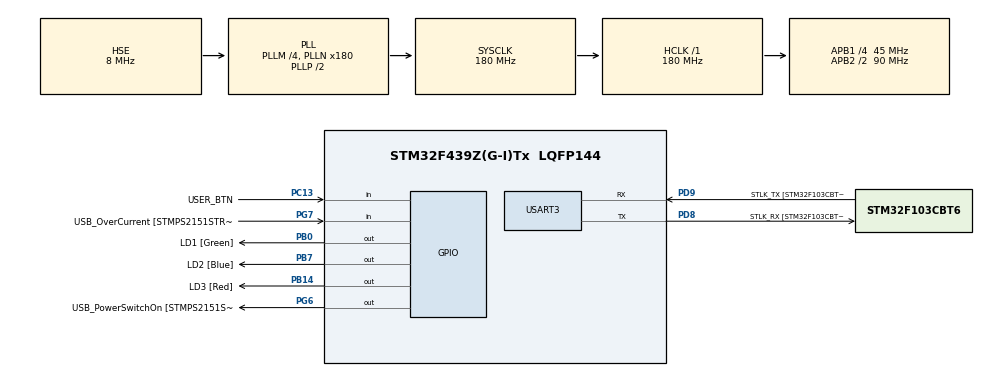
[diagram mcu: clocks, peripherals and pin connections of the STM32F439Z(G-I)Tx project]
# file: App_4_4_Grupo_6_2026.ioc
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Mcu.Family=STM32F4
Mcu.Name=STM32F439Z(G-I)Tx
Mcu.Package=LQFP144
NVIC.PriorityGroup=NVIC_PRIORITYGROUP_4
PA13.GPIO_Label=TMS
PA13.Mode=Serial_Wire
PA13.Signal=SYS_JTMS-SWDIO
PA14.GPIO_Label=TCK
PA14.Mode=Serial_Wire
PA14.Signal=SYS_JTCK-SWCLK
PB0.GPIO_Label=LD1 [Green]
PB0.Signal=GPIO_Output
PB14.GPIO_Label=LD3 [Red]
PB14.Signal=GPIO_Output
PB7.GPIO_Label=LD2 [Blue]
PB7.Signal=GPIO_Output
PC13.GPIO_Label=USER_BTN
PC13.Signal=GPIO_Input
PC14/OSC32_IN.Mode=LSE-External-Oscillator
PC14/OSC32_IN.Signal=RCC_OSC32_IN
PC15/OSC32_OUT.Mode=LSE-External-Oscillator
PC15/OSC32_OUT.Signal=RCC_OSC32_OUT
PD8.GPIO_Label=STLK_RX [STM32F103CBT6_PA3]
PD8.Mode=Asynchronous
PD8.Signal=USART3_TX
PD9.GPIO_Label=STLK_TX [STM32F103CBT6_PA2]
PD9.Mode=Asynchronous
PD9.Signal=USART3_RX
PG6.GPIO_Label=USB_PowerSwitchOn [STMPS2151STR_EN]
PG6.Signal=GPIO_Output
PG7.GPIO_Label=USB_OverCurrent [STMPS2151STR_FAULT]
PG7.Signal=GPIO_Input
PH0/OSC_IN.GPIO_Label=MCO [STM32F103CBT6_PA8]
PH0/OSC_IN.Mode=HSE-External-Oscillator
PH0/OSC_IN.Signal=RCC_OSC_IN
PH1/OSC_OUT.Mode=HSE-External-Oscillator
PH1/OSC_OUT.Signal=RCC_OSC_OUT
ProjectManager.HeapSize=0x200
ProjectManager.StackSize=0x400
ProjectManager.TargetToolchain=STM32CubeIDE
RCC.48MHZClocksFreq_Value=51428571.428571425
RCC.AHBFreq_Value=180000000
RCC.APB1CLKDivider=RCC_HCLK_DIV4
RCC.APB1Freq_Value=45000000
RCC.APB1TimFreq_Value=90000000
RCC.APB2CLKDivider=RCC_HCLK_DIV2
RCC.APB2Freq_Value=90000000
RCC.APB2TimFreq_Value=180000000
RCC.CortexFreq_Value=180000000
RCC.HCLKFreq_Value=180000000
RCC.HSE_VALUE=8000000
RCC.HSI_VALUE=16000000
RCC.PLLM=4
RCC.PLLMUL=RCC_PLL_MUL9
RCC.PLLN=180
RCC.PLLQ=7
RCC.PLLSourceVirtual=RCC_PLLSOURCE_HSE
RCC.PRESCALERUSB=RCC_USBCLKSOURCE_PLL_DIV1_5
RCC.SYSCLKFreq_VALUE=180000000
RCC.SYSCLKSource=RCC_SYSCLKSOURCE_PLLCLK
RCC.SYSCLKSourceVirtual=RCC_SYSCLKSOURCE_PLLCLK
RCC.USBFreq_Value=48000000
RCC.VCOOutputFreq_Value=360000000
USART3.VirtualMode=VM_ASYNC
board=NUCLEO-F439ZI

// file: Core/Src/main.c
/* USER CODE BEGIN Header */
/**
 * @file main.c
 * @author Mamani Flores Carlos (UTN FRT)
 * @brief Aplicación de parpadeo de LEDs con velocidad variable en caliente.
 * @details Módulo de Capa 3 que conmuta en bloque el estado de los LEDs y actualiza
 *          dinámicamente el periodo de temporización mediante nb_delay_write() al
 *          detectar pulsaciones en el USER_Btn con filtro de rebote.
 * @version 1.0
 * @date 2026
 *
 * @attention
 * Copyright (c) 2026 STMicroelectronics.
 * All rights reserved.
 */

/* USER CODE END Header */
#include "main.h"

/* USER CODE BEGIN Includes */

#include "stdbool.h"
#include "driver_led.h"
#include "driver_led_pal.h"
#include "nb_delay.h"
#include "driver_boton.h"
#include "driver_boton_pal.h"

/* USER CODE END Includes */

/* USER CODE BEGIN PTD */

/** * @brief Definición de estados para la MEF.
 */
typedef enum{
	Estado_Encendido = 0,
	Estado_Apagado
} Estado_t;

/* USER CODE END PTD */

/* USER CODE BEGIN PD */

#define INDICE_BTN_USER 0

/* USER CODE END PD */

UART_HandleTypeDef huart3;

/* USER CODE BEGIN PV */

/* Tablas físicas asociadas a la Capa PAL */
static const BOTON_Hardware_t tabla_botones_hw[] = {
		[INDICE_BTN_USER] = {USER_BTN_GPIO_Port, USER_BTN_Pin, BOTON_ACTIVO_ALTO}
};
static const uint8_t cant_botones = sizeof(tabla_botones_hw) / sizeof(tabla_botones_hw[0]);

static const LED_Hardware_t tabla_leds_hardware[] = {
		{LD1_GPIO_Port, LD1_Pin}, // LED 0: Verde
		{LD2_GPIO_Port, LD2_Pin}, // LED 1: Azul
		{LD3_GPIO_Port, LD3_Pin}  // LED 2: Rojo
};
static const uint8_t total_leds = sizeof(tabla_leds_hardware) / sizeof(tabla_leds_hardware[0]);

/* Base de tiempos configurables */
static const tick_t tabla_tiempos[] = {100U, 250U, 500U, 1000U};
static const uint8_t cant_intervalos = sizeof(tabla_tiempos) / sizeof(tabla_tiempos[0]);
static const tick_t tiempo_debounce = 50U;

/* Variables de control de estado */
static uint8_t indice_tiempo_actual = 0U;

/* Instancias de temporización no bloqueante */
static nb_delay_t delay_toggle;
static nb_delay_t delay_debounce;

/* USER CODE END PV */

void SystemClock_Config(void);
static void MX_GPIO_Init(void);
static void MX_USART3_UART_Init(void);

int main(void)
{

	/* MCU Configuration--------------------------------------------------------*/

	/* Reset of all peripherals, Initializes the Flash interface and the Systick. */
	HAL_Init();

	/* Configure the system clock */
	SystemClock_Config();

	/* Initialize all configured peripherals */
	MX_GPIO_Init();
	MX_USART3_UART_Init();
	/* USER CODE BEGIN 2 */

	/* Inicialización de controladores de Capa 2 */
	LED_Init(tabla_leds_hardware, total_leds);
	BOTON_Init(tabla_botones_hw, cant_botones);

	/* Inicialización de temporizadores */
	nb_delay_init(&delay_toggle, tabla_tiempos[indice_tiempo_actual]);
	nb_delay_init(&delay_debounce, tiempo_debounce);

	/* USER CODE END 2 */

	/* Infinite loop */
	while (1)
	{

		/* USER CODE BEGIN 3 */

		/*
		 * 1. Polling con antirrebote no bloqueante para cambio dinámico de velocidad:
		 */
		if (nb_delay_read(&delay_debounce))
		{
			if (BOTON_DetectarFlancoPresionado(INDICE_BTN_USER))
			{
				indice_tiempo_actual++;
				if (indice_tiempo_actual >= cant_intervalos)
				{
					indice_tiempo_actual = 0U;
				}

				/* Actualiza el tiempo del retardo en caliente sin reiniciar el conteo */
				nb_delay_write(&delay_toggle, tabla_tiempos[indice_tiempo_actual]);
			}
		}

		/*
		 * 2. Conmutación (Toggle) sincronizada por el driver de tiempo:
		 */
		if (nb_delay_read(&delay_toggle))
		{
			for (uint8_t i = 0U; i < LED_GetCount(); i++)
			{
				LED_Toggle(i);
			}
		}
	}
	/* USER CODE END 3 */
}

void SystemClock_Config(void)
{
	RCC_OscInitTypeDef RCC_OscInitStruct = {0};
	RCC_ClkInitTypeDef RCC_ClkInitStruct = {0};

	/** Configure the main internal regulator output voltage
	 */
	__HAL_RCC_PWR_CLK_ENABLE();
	__HAL_PWR_VOLTAGESCALING_CONFIG(PWR_REGULATOR_VOLTAGE_SCALE1);

	/** Initializes the RCC Oscillators according to the specified parameters
	 * in the RCC_OscInitTypeDef structure.
	 */
	RCC_OscInitStruct.OscillatorType = RCC_OSCILLATORTYPE_HSE;
	RCC_OscInitStruct.HSEState = RCC_HSE_BYPASS;
	RCC_OscInitStruct.PLL.PLLState = RCC_PLL_ON;
	RCC_OscInitStruct.PLL.PLLSource = RCC_PLLSOURCE_HSE;
	RCC_OscInitStruct.PLL.PLLM = 4;
	RCC_OscInitStruct.PLL.PLLN = 180;
	RCC_OscInitStruct.PLL.PLLP = RCC_PLLP_DIV2;
	RCC_OscInitStruct.PLL.PLLQ = 7;
	if (HAL_RCC_OscConfig(&RCC_OscInitStruct) != HAL_OK)
	{
		Error_Handler();
	}

	/** Activate the Over-Drive mode
	 */
	if (HAL_PWREx_EnableOverDrive() != HAL_OK)
	{
		Error_Handler();
	}

	/** Initializes the CPU, AHB and APB buses clocks
	 */
	RCC_ClkInitStruct.ClockType = RCC_CLOCKTYPE_HCLK|RCC_CLOCKTYPE_SYSCLK
			|RCC_CLOCKTYPE_PCLK1|RCC_CLOCKTYPE_PCLK2;
	RCC_ClkInitStruct.SYSCLKSource = RCC_SYSCLKSOURCE_PLLCLK;
	RCC_ClkInitStruct.AHBCLKDivider = RCC_SYSCLK_DIV1;
	RCC_ClkInitStruct.APB1CLKDivider = RCC_HCLK_DIV4;
	RCC_ClkInitStruct.APB2CLKDivider = RCC_HCLK_DIV2;

	if (HAL_RCC_ClockConfig(&RCC_ClkInitStruct, FLASH_LATENCY_5) != HAL_OK)
	{
		Error_Handler();
	}
}

static void MX_USART3_UART_Init(void)
{

	huart3.Instance = USART3;
	huart3.Init.BaudRate = 115200;
	huart3.Init.WordLength = UART_WORDLENGTH_8B;
	huart3.Init.StopBits = UART_STOPBITS_1;
	huart3.Init.Parity = UART_PARITY_NONE;
	huart3.Init.Mode = UART_MODE_TX_RX;
	huart3.Init.HwFlowCtl = UART_HWCONTROL_NONE;
	huart3.Init.OverSampling = UART_OVERSAMPLING_16;
	if (HAL_UART_Init(&huart3) != HAL_OK)
	{
		Error_Handler();
	}

}

static void MX_GPIO_Init(void)
{
	GPIO_InitTypeDef GPIO_InitStruct = {0};

	/* GPIO Ports Clock Enable */
	__HAL_RCC_GPIOC_CLK_ENABLE();
	__HAL_RCC_GPIOH_CLK_ENABLE();
	__HAL_RCC_GPIOB_CLK_ENABLE();
	__HAL_RCC_GPIOD_CLK_ENABLE();
	__HAL_RCC_GPIOG_CLK_ENABLE();
	__HAL_RCC_GPIOA_CLK_ENABLE();

	/*Configure GPIO pin Output Level */
	HAL_GPIO_WritePin(GPIOB, LD1_Pin|LD3_Pin|LD2_Pin, GPIO_PIN_RESET);

	/*Configure GPIO pin Output Level */
	HAL_GPIO_WritePin(USB_PowerSwitchOn_GPIO_Port, USB_PowerSwitchOn_Pin, GPIO_PIN_RESET);

	/*Configure GPIO pin : USER_BTN_Pin */
	GPIO_InitStruct.Pin = USER_BTN_Pin;
	GPIO_InitStruct.Mode = GPIO_MODE_INPUT;
	GPIO_InitStruct.Pull = GPIO_NOPULL;
	HAL_GPIO_Init(USER_BTN_GPIO_Port, &GPIO_InitStruct);

	/*Configure GPIO pins : LD1_Pin LD3_Pin LD2_Pin */
	GPIO_InitStruct.Pin = LD1_Pin|LD3_Pin|LD2_Pin;
	GPIO_InitStruct.Mode = GPIO_MODE_OUTPUT_PP;
	GPIO_InitStruct.Pull = GPIO_NOPULL;
	GPIO_InitStruct.Speed = GPIO_SPEED_FREQ_LOW;
	HAL_GPIO_Init(GPIOB, &GPIO_InitStruct);

	/*Configure GPIO pin : USB_PowerSwitchOn_Pin */
	GPIO_InitStruct.Pin = USB_PowerSwitchOn_Pin;
	GPIO_InitStruct.Mode = GPIO_MODE_OUTPUT_PP;
	GPIO_InitStruct.Pull = GPIO_NOPULL;
	GPIO_InitStruct.Speed = GPIO_SPEED_FREQ_LOW;
	HAL_GPIO_Init(USB_PowerSwitchOn_GPIO_Port, &GPIO_InitStruct);

	/*Configure GPIO pin : USB_OverCurrent_Pin */
	GPIO_InitStruct.Pin = USB_OverCurrent_Pin;
	GPIO_InitStruct.Mode = GPIO_MODE_INPUT;
	GPIO_InitStruct.Pull = GPIO_NOPULL;
	HAL_GPIO_Init(USB_OverCurrent_GPIO_Port, &GPIO_InitStruct);

}

void Error_Handler(void)
{
	__disable_irq();
	while (1)
	{
	}
}
